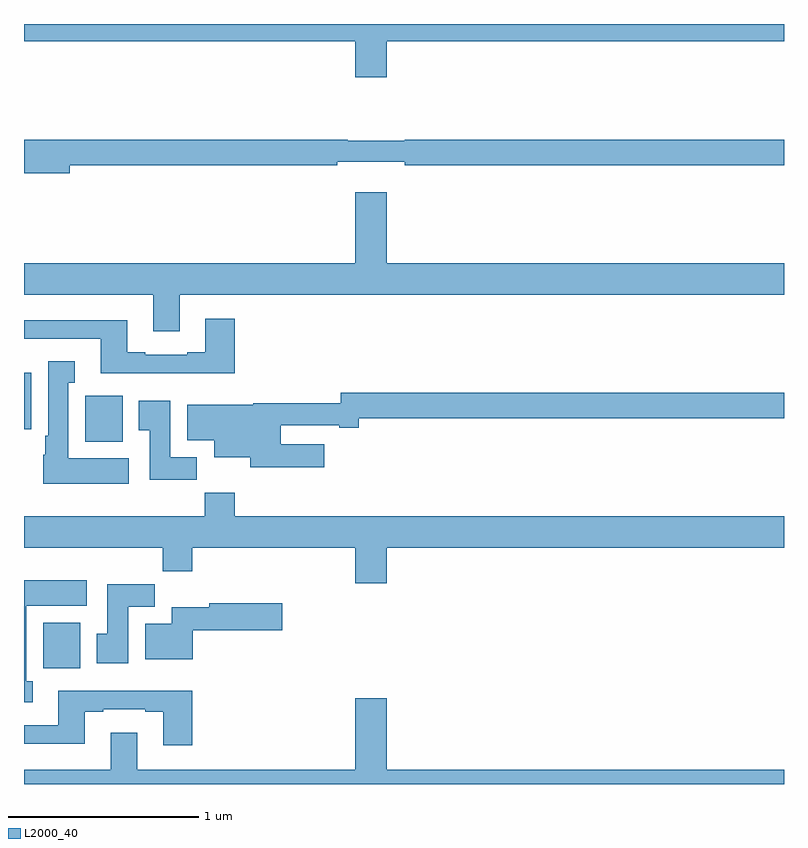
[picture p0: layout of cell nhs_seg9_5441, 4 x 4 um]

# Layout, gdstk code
import gdstk
lib = gdstk.Library(unit=1e-6, precision=1e-09)
def R(c, l, rs):  # rectangles x0, y0, x1, y1
    for r in rs: c.add(gdstk.rectangle(r[:2], r[2:], *l))
def P(c, l, *ps):  # polygons
    for p in ps: c.add(gdstk.Polygon(p, *l))
L2000_40 = (2000, 40)

nhs_seg9_5441 = lib.new_cell('nhs_seg9_5441')
R(nhs_seg9_5441, L2000_40, [(427.1,1205.108,427.297,1205.35), (427.322,1206.302,427.519,1206.544), (427,1206.368,427.039,1206.664)])
P(nhs_seg9_5441, L2000_40, [(428.908,1208.408),(431,1208.408),(431,1208.5),(427,1208.5),(427,1208.408),(428.744,1208.408),(428.744,1208.22),(428.908,1208.22)],
  [(427.24,1207.756),(428.648,1207.756),(428.648,1207.775),(429.004,1207.775),(429.004,1207.756),(431,1207.756),(431,1207.892),(429.005,1207.892),(429.005,1207.885),(428.705,1207.885),(428.705,1207.892),(427.001,1207.892),(427.001,1207.856),(427,1207.856),(427,1207.714),(427.24,1207.714)],
  [(427.819,1207.076),(431,1207.076),(431,1207.24),(428.908,1207.24),(428.908,1207.615),(428.744,1207.615),(428.744,1207.24),(427,1207.24),(427,1207.076),(427.679,1207.076),(427.679,1206.882),(427.819,1206.882)],
  [(428.108,1206.949),(427.955,1206.949),(427.955,1206.772),(427.859,1206.772),(427.859,1206.759),(427.639,1206.759),(427.639,1206.772),(427.543,1206.772),(427.543,1206.94),(427,1206.94),(427,1206.843),(427.403,1206.843),(427.403,1206.662),(428.108,1206.662)],
  [(427.552,1206.214),(427.234,1206.214),(427.234,1206.611),(427.267,1206.611),(427.267,1206.724),(427.127,1206.724),(427.127,1206.334),(427.112,1206.334),(427.112,1206.234),(427.1,1206.234),(427.1,1206.08),(427.552,1206.08)],
  [(428.581,1206.289),(428.35,1206.289),(428.35,1206.387),(428.66,1206.387),(428.66,1206.375),(428.763,1206.375),(428.763,1206.424),(431,1206.424),(431,1206.56),(428.667,1206.56),(428.667,1206.503),(428.206,1206.503),(428.206,1206.496),(427.859,1206.496),(427.859,1206.308),(428,1206.308),(428,1206.221),(428.192,1206.221),(428.192,1206.167),(428.581,1206.167)],
  [(427.91,1206.22),(427.771,1206.22),(427.771,1206.517),(427.604,1206.517),(427.604,1206.361),(427.661,1206.361),(427.661,1206.102),(427.91,1206.102)],
  [(427,1205.744),(427.729,1205.744),(427.729,1205.62),(427.886,1205.62),(427.886,1205.744),(428.744,1205.744),(428.744,1205.556),(428.908,1205.556),(428.908,1205.744),(431,1205.744),(431,1205.908),(428.108,1205.908),(428.108,1206.032),(427.951,1206.032),(427.951,1205.908),(427,1205.908)],
  [(427.045,1205.042),(427.012,1205.042),(427.012,1205.438),(427.33,1205.438),(427.33,1205.572),(427,1205.572),(427,1204.929),(427.045,1204.929)],
  [(427.549,1205.432),(427.688,1205.432),(427.688,1205.551),(427.439,1205.551),(427.439,1205.292),(427.382,1205.292),(427.382,1205.136),(427.549,1205.136)],
  [(427.888,1205.309),(428.359,1205.309),(428.359,1205.451),(427.974,1205.451),(427.974,1205.431),(427.778,1205.431),(427.778,1205.344),(427.637,1205.344),(427.637,1205.156),(427.888,1205.156)],
  [(427.886,1204.99),(427.181,1204.99),(427.181,1204.809),(427,1204.809),(427,1204.712),(427.321,1204.712),(427.321,1204.881),(427.417,1204.881),(427.417,1204.893),(427.637,1204.893),(427.637,1204.881),(427.733,1204.881),(427.733,1204.704),(427.886,1204.704)],
  [(431,1204.576),(428.908,1204.576),(428.908,1204.951),(428.744,1204.951),(428.744,1204.576),(427.597,1204.576),(427.597,1204.771),(427.457,1204.771),(427.457,1204.576),(427,1204.576),(427,1204.5),(431,1204.5)])

lib.write_gds('nhs_seg9_5441.gds')
